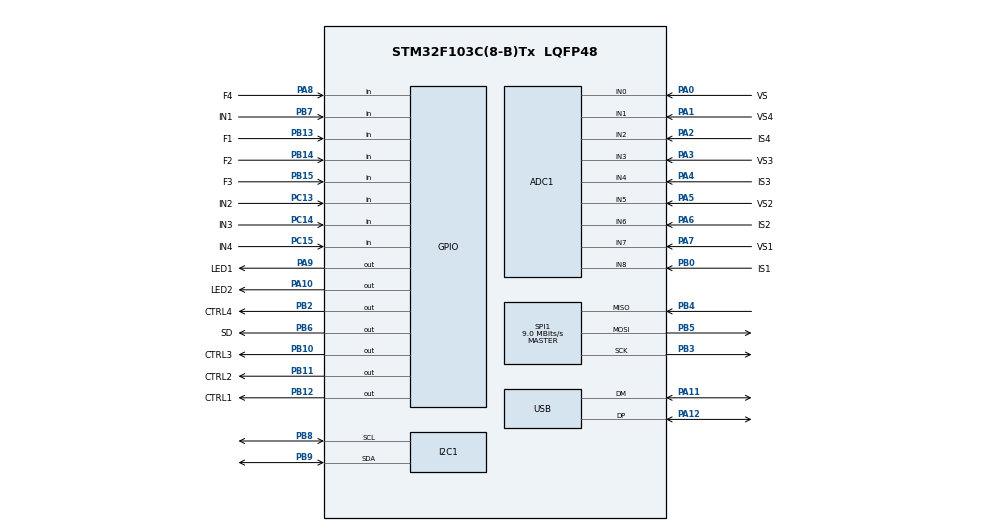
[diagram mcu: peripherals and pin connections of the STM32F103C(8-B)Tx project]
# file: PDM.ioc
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ADC1.Channel-0\#ChannelRegularConversion=ADC_CHANNEL_0
ADC1.Channel-1\#ChannelRegularConversion=ADC_CHANNEL_1
ADC1.Channel-2\#ChannelRegularConversion=ADC_CHANNEL_2
ADC1.Channel-3\#ChannelRegularConversion=ADC_CHANNEL_3
ADC1.Channel-4\#ChannelRegularConversion=ADC_CHANNEL_4
ADC1.Channel-5\#ChannelRegularConversion=ADC_CHANNEL_5
ADC1.Channel-6\#ChannelRegularConversion=ADC_CHANNEL_6
ADC1.Channel-7\#ChannelRegularConversion=ADC_CHANNEL_7
ADC1.Channel-8\#ChannelRegularConversion=ADC_CHANNEL_8
ADC1.ContinuousConvMode=ENABLE
ADC1.NbrOfConversion=9
ADC1.NbrOfConversionFlag=1
ADC1.Rank-0\#ChannelRegularConversion=1
ADC1.Rank-1\#ChannelRegularConversion=2
ADC1.Rank-2\#ChannelRegularConversion=3
ADC1.Rank-3\#ChannelRegularConversion=4
ADC1.Rank-4\#ChannelRegularConversion=5
ADC1.Rank-5\#ChannelRegularConversion=6
ADC1.Rank-6\#ChannelRegularConversion=7
ADC1.Rank-7\#ChannelRegularConversion=8
ADC1.Rank-8\#ChannelRegularConversion=9
ADC1.SamplingTime-0\#ChannelRegularConversion=ADC_SAMPLETIME_28CYCLES_5
ADC1.SamplingTime-1\#ChannelRegularConversion=ADC_SAMPLETIME_28CYCLES_5
ADC1.SamplingTime-2\#ChannelRegularConversion=ADC_SAMPLETIME_7CYCLES_5
ADC1.SamplingTime-3\#ChannelRegularConversion=ADC_SAMPLETIME_28CYCLES_5
ADC1.SamplingTime-4\#ChannelRegularConversion=ADC_SAMPLETIME_7CYCLES_5
ADC1.SamplingTime-5\#ChannelRegularConversion=ADC_SAMPLETIME_28CYCLES_5
ADC1.SamplingTime-6\#ChannelRegularConversion=ADC_SAMPLETIME_7CYCLES_5
ADC1.SamplingTime-7\#ChannelRegularConversion=ADC_SAMPLETIME_28CYCLES_5
ADC1.SamplingTime-8\#ChannelRegularConversion=ADC_SAMPLETIME_7CYCLES_5
ADC1.master=1
Dma.ADC1.0.Direction=DMA_PERIPH_TO_MEMORY
Dma.ADC1.0.Instance=DMA1_Channel1
Dma.ADC1.0.MemDataAlignment=DMA_MDATAALIGN_WORD
Dma.ADC1.0.MemInc=DMA_MINC_ENABLE
Dma.ADC1.0.Mode=DMA_CIRCULAR
Dma.ADC1.0.PeriphDataAlignment=DMA_PDATAALIGN_HALFWORD
Dma.ADC1.0.PeriphInc=DMA_PINC_DISABLE
Dma.ADC1.0.Priority=DMA_PRIORITY_LOW
Dma.Request0=ADC1
FATFS._MAX_SS=4096
FATFS._USE_LFN=1
Mcu.Family=STM32F1
Mcu.Name=STM32F103C(8-B)Tx
Mcu.Package=LQFP48
NVIC.DMA1_Channel1_IRQn=true\:0\:0\:false\:false\:true\:false\:true\:true
NVIC.PriorityGroup=NVIC_PRIORITYGROUP_4
NVIC.USB_LP_CAN1_RX0_IRQn=true\:0\:0\:false\:false\:true\:false\:true\:true
PA0-WKUP.GPIO_Label=VS
PA0-WKUP.Signal=ADCx_IN0
PA1.GPIO_Label=VS4
PA1.Signal=ADCx_IN1
PA10.GPIO_Label=LED2
PA10.Signal=GPIO_Output
PA11.Mode=Device
PA11.Signal=USB_DM
PA12.Mode=Device
PA12.Signal=USB_DP
PA13.Mode=Serial_Wire
PA13.Signal=SYS_JTMS-SWDIO
PA14.Mode=Serial_Wire
PA14.Signal=SYS_JTCK-SWCLK
PA2.GPIO_Label=IS4
PA2.Signal=ADCx_IN2
PA3.GPIO_Label=VS3
PA3.Signal=ADCx_IN3
PA4.GPIO_Label=IS3
PA4.Signal=ADCx_IN4
PA5.GPIO_Label=VS2
PA5.Signal=ADCx_IN5
PA6.GPIO_Label=IS2
PA6.Signal=ADCx_IN6
PA7.GPIO_Label=VS1
PA7.Signal=ADCx_IN7
PA8.GPIO_Label=F4
PA8.Signal=GPIO_Input
PA9.GPIO_Label=LED1
PA9.Signal=GPIO_Output
PB0.GPIO_Label=IS1
PB0.Signal=ADCx_IN8
PB10.GPIO_Label=CTRL3
PB10.Signal=GPIO_Output
PB11.GPIO_Label=CTRL2
PB11.Signal=GPIO_Output
PB12.GPIO_Label=CTRL1
PB12.Signal=GPIO_Output
PB13.GPIO_Label=F1
PB13.Signal=GPIO_Input
PB14.GPIO_Label=F2
PB14.Signal=GPIO_Input
PB15.GPIO_Label=F3
PB15.Signal=GPIO_Input
PB2.GPIO_Label=CTRL4
PB2.Signal=GPIO_Output
PB3.Mode=Full_Duplex_Master
PB3.Signal=SPI1_SCK
PB4.Mode=Full_Duplex_Master
PB4.Signal=SPI1_MISO
PB5.Mode=Full_Duplex_Master
PB5.Signal=SPI1_MOSI
PB6.GPIO_Label=SD
PB6.GPIO_Speed=GPIO_SPEED_FREQ_MEDIUM
PB6.PinState=GPIO_PIN_SET
PB6.Signal=GPIO_Output
PB7.GPIO_Label=IN1
PB7.Signal=GPIO_Input
PB8.Mode=I2C
PB8.Signal=I2C1_SCL
PB9.Mode=I2C
PB9.Signal=I2C1_SDA
PC13-TAMPER-RTC.GPIO_Label=IN2
PC13-TAMPER-RTC.Signal=GPIO_Input
PC14-OSC32_IN.GPIO_Label=IN3
PC14-OSC32_IN.Signal=GPIO_Input
PC15-OSC32_OUT.GPIO_Label=IN4
PC15-OSC32_OUT.Signal=GPIO_Input
PD0-OSC_IN.Mode=HSE-External-Oscillator
PD0-OSC_IN.Signal=RCC_OSC_IN
PD1-OSC_OUT.Mode=HSE-External-Oscillator
PD1-OSC_OUT.Signal=RCC_OSC_OUT
ProjectManager.HeapSize=0x200
ProjectManager.StackSize=0x400
ProjectManager.TargetToolchain=STM32CubeIDE
RCC.ADCPresc=RCC_ADCPCLK2_DIV6
RCC.AHBFreq_Value=72000000
RCC.APB1CLKDivider=RCC_HCLK_DIV2
RCC.APB1Freq_Value=36000000
RCC.APB1TimFreq_Value=72000000
RCC.APB2Freq_Value=72000000
RCC.APB2TimFreq_Value=72000000
RCC.HCLKFreq_Value=72000000
RCC.HSE_VALUE=12000000
RCC.PLLMUL=RCC_PLL_MUL6
RCC.SYSCLKFreq_VALUE=72000000
RCC.SYSCLKSource=RCC_SYSCLKSOURCE_PLLCLK
RCC.USBFreq_Value=48000000
RCC.USBPrescaler=RCC_USBCLKSOURCE_PLL_DIV1_5
SH.ADCx_IN0.0=ADC1_IN0,IN0
SH.ADCx_IN1.0=ADC1_IN1,IN1
SH.ADCx_IN2.0=ADC1_IN2,IN2
SH.ADCx_IN3.0=ADC1_IN3,IN3
SH.ADCx_IN4.0=ADC1_IN4,IN4
SH.ADCx_IN5.0=ADC1_IN5,IN5
SH.ADCx_IN6.0=ADC1_IN6,IN6
SH.ADCx_IN7.0=ADC1_IN7,IN7
SH.ADCx_IN8.0=ADC1_IN8,IN8
SPI1.BaudRatePrescaler=SPI_BAUDRATEPRESCALER_8
SPI1.CalculateBaudRate=9.0 MBits/s
SPI1.Direction=SPI_DIRECTION_2LINES
SPI1.Mode=SPI_MODE_MASTER
SPI1.VirtualType=VM_MASTER
USB_DEVICE.CLASS_NAME_FS=CDC
USB_DEVICE.VirtualMode=Cdc
USB_DEVICE.VirtualModeFS=Cdc_FS
VP_FATFS_VS_Generic.Mode=User_defined
VP_USB_DEVICE_VS_USB_DEVICE_CDC_FS.Mode=CDC_FS
board=custom

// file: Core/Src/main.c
/* USER CODE BEGIN Header */
/**
  ******************************************************************************
  * @file           : main.c
  * @brief          : Main program body
  ******************************************************************************
  * @attention
  *
  * Copyright (c) 2024 STMicroelectronics.
  * All rights reserved.
  *
  * This software is licensed under terms that can be found in the LICENSE file
  * in the root directory of this software component.
  * If no LICENSE file comes with this software, it is provided AS-IS.
  *
  ******************************************************************************
  */
/* USER CODE END Header */
#include "main.h"
#include "fatfs.h"
#include "usb_device.h"

/* USER CODE BEGIN Includes */
#include "comm.h"
#include "analog.h"
#include "usbd_cdc_if.h"
/* USER CODE END Includes */

ADC_HandleTypeDef hadc1;
DMA_HandleTypeDef hdma_adc1;

I2C_HandleTypeDef hi2c1;

SPI_HandleTypeDef hspi1;

/* USER CODE BEGIN PV */
float latestRead[9];
uint32_t raw[9];
/* USER CODE END PV */

void SystemClock_Config(void);
static void MX_GPIO_Init(void);
static void MX_DMA_Init(void);
static void MX_ADC1_Init(void);
static void MX_I2C1_Init(void);
static void MX_SPI1_Init(void);

int main(void)
{

  /* MCU Configuration--------------------------------------------------------*/

  /* Reset of all peripherals, Initializes the Flash interface and the Systick. */
  HAL_Init();

  /* Configure the system clock */
  SystemClock_Config();

  /* Initialize all configured peripherals */
  MX_GPIO_Init();
  MX_DMA_Init();
  MX_ADC1_Init();
  MX_USB_DEVICE_Init();
  MX_I2C1_Init();
  MX_SPI1_Init();
  MX_FATFS_Init();
  /* USER CODE BEGIN 2 */
  initEEPROM(&hi2c1);
  initAnalog(&hadc1);
  //initComm();

  uint32_t lstRead = 0;
  uint32_t lstCTRL = 0;
  /* USER CODE END 2 */

  /* Infinite loop */
  while (1)
  {

    /* USER CODE BEGIN 3 */
  	if(HAL_GetTick() - lstRead > 500){
  		readValues(latestRead);
    	lstRead += 500;
  	}

  	if(HAL_GetTick() - lstCTRL > 3000){
  		LL_GPIO_TogglePin(CTRL1_GPIO_Port, CTRL1_Pin);

  		lstCTRL += 3000;
  	}

  	//readValues(read);
  }
  /* USER CODE END 3 */
}

void SystemClock_Config(void)
{
  LL_FLASH_SetLatency(LL_FLASH_LATENCY_2);
  while(LL_FLASH_GetLatency()!= LL_FLASH_LATENCY_2)
  {
  }
  LL_RCC_HSE_Enable();

   /* Wait till HSE is ready */
  while(LL_RCC_HSE_IsReady() != 1)
  {

  }
  LL_RCC_PLL_ConfigDomain_SYS(LL_RCC_PLLSOURCE_HSE_DIV_1, LL_RCC_PLL_MUL_6);
  LL_RCC_PLL_Enable();

   /* Wait till PLL is ready */
  while(LL_RCC_PLL_IsReady() != 1)
  {

  }
  LL_RCC_SetAHBPrescaler(LL_RCC_SYSCLK_DIV_1);
  LL_RCC_SetAPB1Prescaler(LL_RCC_APB1_DIV_2);
  LL_RCC_SetAPB2Prescaler(LL_RCC_APB2_DIV_1);
  LL_RCC_SetSysClkSource(LL_RCC_SYS_CLKSOURCE_PLL);

   /* Wait till System clock is ready */
  while(LL_RCC_GetSysClkSource() != LL_RCC_SYS_CLKSOURCE_STATUS_PLL)
  {

  }
  LL_SetSystemCoreClock(72000000);

   /* Update the time base */
  if (HAL_InitTick (TICK_INT_PRIORITY) != HAL_OK)
  {
    Error_Handler();
  }
  LL_RCC_SetADCClockSource(LL_RCC_ADC_CLKSRC_PCLK2_DIV_6);
  LL_RCC_SetUSBClockSource(LL_RCC_USB_CLKSOURCE_PLL_DIV_1_5);
}

static void MX_ADC1_Init(void)
{

  ADC_ChannelConfTypeDef sConfig = {0};

  /** Common config
  */
  hadc1.Instance = ADC1;
  hadc1.Init.ScanConvMode = ADC_SCAN_ENABLE;
  hadc1.Init.ContinuousConvMode = ENABLE;
  hadc1.Init.DiscontinuousConvMode = DISABLE;
  hadc1.Init.ExternalTrigConv = ADC_SOFTWARE_START;
  hadc1.Init.DataAlign = ADC_DATAALIGN_RIGHT;
  hadc1.Init.NbrOfConversion = 9;
  if (HAL_ADC_Init(&hadc1) != HAL_OK)
  {
    Error_Handler();
  }

  /** Configure Regular Channel
  */
  sConfig.Channel = ADC_CHANNEL_0;
  sConfig.Rank = ADC_REGULAR_RANK_1;
  sConfig.SamplingTime = ADC_SAMPLETIME_28CYCLES_5;
  if (HAL_ADC_ConfigChannel(&hadc1, &sConfig) != HAL_OK)
  {
    Error_Handler();
  }

  /** Configure Regular Channel
  */
  sConfig.Channel = ADC_CHANNEL_1;
  sConfig.Rank = ADC_REGULAR_RANK_2;
  if (HAL_ADC_ConfigChannel(&hadc1, &sConfig) != HAL_OK)
  {
    Error_Handler();
  }

  /** Configure Regular Channel
  */
  sConfig.Channel = ADC_CHANNEL_2;
  sConfig.Rank = ADC_REGULAR_RANK_3;
  sConfig.SamplingTime = ADC_SAMPLETIME_7CYCLES_5;
  if (HAL_ADC_ConfigChannel(&hadc1, &sConfig) != HAL_OK)
  {
    Error_Handler();
  }

  /** Configure Regular Channel
  */
  sConfig.Channel = ADC_CHANNEL_3;
  sConfig.Rank = ADC_REGULAR_RANK_4;
  sConfig.SamplingTime = ADC_SAMPLETIME_28CYCLES_5;
  if (HAL_ADC_ConfigChannel(&hadc1, &sConfig) != HAL_OK)
  {
    Error_Handler();
  }

  /** Configure Regular Channel
  */
  sConfig.Channel = ADC_CHANNEL_4;
  sConfig.Rank = ADC_REGULAR_RANK_5;
  sConfig.SamplingTime = ADC_SAMPLETIME_7CYCLES_5;
  if (HAL_ADC_ConfigChannel(&hadc1, &sConfig) != HAL_OK)
  {
    Error_Handler();
  }

  /** Configure Regular Channel
  */
  sConfig.Channel = ADC_CHANNEL_5;
  sConfig.Rank = ADC_REGULAR_RANK_6;
  sConfig.SamplingTime = ADC_SAMPLETIME_28CYCLES_5;
  if (HAL_ADC_ConfigChannel(&hadc1, &sConfig) != HAL_OK)
  {
    Error_Handler();
  }

  /** Configure Regular Channel
  */
  sConfig.Channel = ADC_CHANNEL_6;
  sConfig.Rank = ADC_REGULAR_RANK_7;
  sConfig.SamplingTime = ADC_SAMPLETIME_7CYCLES_5;
  if (HAL_ADC_ConfigChannel(&hadc1, &sConfig) != HAL_OK)
  {
    Error_Handler();
  }

  /** Configure Regular Channel
  */
  sConfig.Channel = ADC_CHANNEL_7;
  sConfig.Rank = ADC_REGULAR_RANK_8;
  sConfig.SamplingTime = ADC_SAMPLETIME_28CYCLES_5;
  if (HAL_ADC_ConfigChannel(&hadc1, &sConfig) != HAL_OK)
  {
    Error_Handler();
  }

  /** Configure Regular Channel
  */
  sConfig.Channel = ADC_CHANNEL_8;
  sConfig.Rank = ADC_REGULAR_RANK_9;
  sConfig.SamplingTime = ADC_SAMPLETIME_7CYCLES_5;
  if (HAL_ADC_ConfigChannel(&hadc1, &sConfig) != HAL_OK)
  {
    Error_Handler();
  }

}

static void MX_I2C1_Init(void)
{

  hi2c1.Instance = I2C1;
  hi2c1.Init.ClockSpeed = 100000;
  hi2c1.Init.DutyCycle = I2C_DUTYCYCLE_2;
  hi2c1.Init.OwnAddress1 = 0;
  hi2c1.Init.AddressingMode = I2C_ADDRESSINGMODE_7BIT;
  hi2c1.Init.DualAddressMode = I2C_DUALADDRESS_DISABLE;
  hi2c1.Init.OwnAddress2 = 0;
  hi2c1.Init.GeneralCallMode = I2C_GENERALCALL_DISABLE;
  hi2c1.Init.NoStretchMode = I2C_NOSTRETCH_DISABLE;
  if (HAL_I2C_Init(&hi2c1) != HAL_OK)
  {
    Error_Handler();
  }

}

static void MX_SPI1_Init(void)
{

  /* SPI1 parameter configuration*/
  hspi1.Instance = SPI1;
  hspi1.Init.Mode = SPI_MODE_MASTER;
  hspi1.Init.Direction = SPI_DIRECTION_2LINES;
  hspi1.Init.DataSize = SPI_DATASIZE_8BIT;
  hspi1.Init.CLKPolarity = SPI_POLARITY_LOW;
  hspi1.Init.CLKPhase = SPI_PHASE_1EDGE;
  hspi1.Init.NSS = SPI_NSS_SOFT;
  hspi1.Init.BaudRatePrescaler = SPI_BAUDRATEPRESCALER_8;
  hspi1.Init.FirstBit = SPI_FIRSTBIT_MSB;
  hspi1.Init.TIMode = SPI_TIMODE_DISABLE;
  hspi1.Init.CRCCalculation = SPI_CRCCALCULATION_DISABLE;
  hspi1.Init.CRCPolynomial = 10;
  if (HAL_SPI_Init(&hspi1) != HAL_OK)
  {
    Error_Handler();
  }

}

static void MX_DMA_Init(void)
{

  /* DMA controller clock enable */
  __HAL_RCC_DMA1_CLK_ENABLE();

  /* DMA interrupt init */
  /* DMA1_Channel1_IRQn interrupt configuration */
  HAL_NVIC_SetPriority(DMA1_Channel1_IRQn, 0, 0);
  HAL_NVIC_EnableIRQ(DMA1_Channel1_IRQn);

}

static void MX_GPIO_Init(void)
{
  LL_GPIO_InitTypeDef GPIO_InitStruct = {0};

  /* GPIO Ports Clock Enable */
  LL_APB2_GRP1_EnableClock(LL_APB2_GRP1_PERIPH_GPIOC);
  LL_APB2_GRP1_EnableClock(LL_APB2_GRP1_PERIPH_GPIOD);
  LL_APB2_GRP1_EnableClock(LL_APB2_GRP1_PERIPH_GPIOA);
  LL_APB2_GRP1_EnableClock(LL_APB2_GRP1_PERIPH_GPIOB);

  /**/
  LL_GPIO_ResetOutputPin(GPIOB, CTRL4_Pin|CTRL3_Pin|CTRL2_Pin|CTRL1_Pin);

  /**/
  LL_GPIO_ResetOutputPin(GPIOA, LED1_Pin|LED2_Pin);

  /**/
  LL_GPIO_SetOutputPin(SD_GPIO_Port, SD_Pin);

  /**/
  GPIO_InitStruct.Pin = IN2_Pin|IN3_Pin|IN4_Pin;
  GPIO_InitStruct.Mode = LL_GPIO_MODE_FLOATING;
  LL_GPIO_Init(GPIOC, &GPIO_InitStruct);

  /**/
  GPIO_InitStruct.Pin = CTRL4_Pin|CTRL3_Pin|CTRL2_Pin|CTRL1_Pin;
  GPIO_InitStruct.Mode = LL_GPIO_MODE_OUTPUT;
  GPIO_InitStruct.Speed = LL_GPIO_SPEED_FREQ_LOW;
  GPIO_InitStruct.OutputType = LL_GPIO_OUTPUT_PUSHPULL;
  LL_GPIO_Init(GPIOB, &GPIO_InitStruct);

  /**/
  GPIO_InitStruct.Pin = F1_Pin|F2_Pin|F3_Pin|IN1_Pin;
  GPIO_InitStruct.Mode = LL_GPIO_MODE_FLOATING;
  LL_GPIO_Init(GPIOB, &GPIO_InitStruct);

  /**/
  GPIO_InitStruct.Pin = F4_Pin;
  GPIO_InitStruct.Mode = LL_GPIO_MODE_FLOATING;
  LL_GPIO_Init(F4_GPIO_Port, &GPIO_InitStruct);

  /**/
  GPIO_InitStruct.Pin = LED1_Pin|LED2_Pin;
  GPIO_InitStruct.Mode = LL_GPIO_MODE_OUTPUT;
  GPIO_InitStruct.Speed = LL_GPIO_SPEED_FREQ_LOW;
  GPIO_InitStruct.OutputType = LL_GPIO_OUTPUT_PUSHPULL;
  LL_GPIO_Init(GPIOA, &GPIO_InitStruct);

  /**/
  GPIO_InitStruct.Pin = SD_Pin;
  GPIO_InitStruct.Mode = LL_GPIO_MODE_OUTPUT;
  GPIO_InitStruct.Speed = LL_GPIO_SPEED_FREQ_MEDIUM;
  GPIO_InitStruct.OutputType = LL_GPIO_OUTPUT_PUSHPULL;
  LL_GPIO_Init(SD_GPIO_Port, &GPIO_InitStruct);

}

void Error_Handler(void)
{
  __disable_irq();
  while (1)
  {
  }
}
